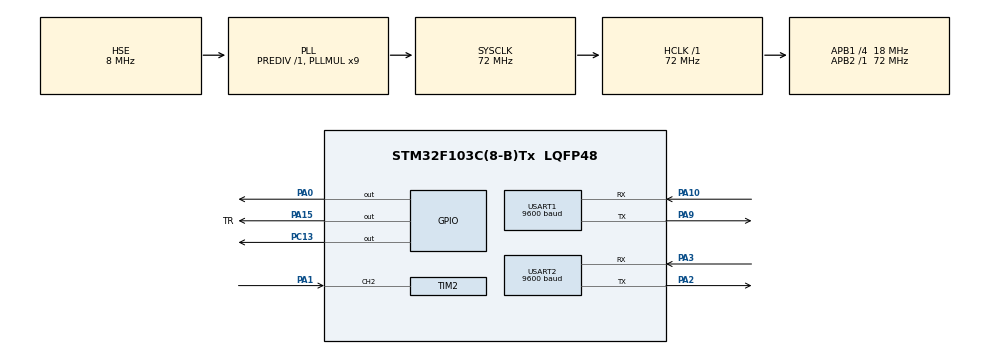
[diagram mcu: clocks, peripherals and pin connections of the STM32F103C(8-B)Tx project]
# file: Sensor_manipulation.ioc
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Mcu.Family=STM32F1
Mcu.Name=STM32F103C(8-B)Tx
Mcu.Package=LQFP48
NVIC.PriorityGroup=NVIC_PRIORITYGROUP_4
NVIC.TIM2_IRQn=true\:2\:0\:true\:false\:true\:true
NVIC.TIM3_IRQn=true\:3\:0\:true\:false\:true\:true
NVIC.USART1_IRQn=true\:1\:0\:true\:false\:true\:true
NVIC.USART2_IRQn=true\:0\:0\:false\:false\:true\:true
PA0-WKUP.Signal=GPIO_Output
PA1.GPIO_PuPd=GPIO_PULLUP
PA1.Signal=S_TIM2_CH2
PA10.Mode=Asynchronous
PA10.Signal=USART1_RX
PA13.Mode=Serial_Wire
PA13.Signal=SYS_JTMS-SWDIO
PA14.Mode=Serial_Wire
PA14.Signal=SYS_JTCK-SWCLK
PA15.GPIO_Label=TR
PA15.Signal=GPIO_Output
PA2.Mode=Asynchronous
PA2.Signal=USART2_TX
PA3.Mode=Asynchronous
PA3.Signal=USART2_RX
PA9.Mode=Asynchronous
PA9.Signal=USART1_TX
PC13-TAMPER-RTC.Signal=GPIO_Output
PD0-OSC_IN.Mode=HSE-External-Oscillator
PD0-OSC_IN.Signal=RCC_OSC_IN
PD1-OSC_OUT.Mode=HSE-External-Oscillator
PD1-OSC_OUT.Signal=RCC_OSC_OUT
ProjectManager.HeapSize=0x200
ProjectManager.StackSize=0x400
ProjectManager.TargetToolchain=MDK-ARM V5
RCC.AHBFreq_Value=72000000
RCC.APB1CLKDivider=RCC_HCLK_DIV4
RCC.APB1Freq_Value=18000000
RCC.APB1TimFreq_Value=36000000
RCC.APB2Freq_Value=72000000
RCC.APB2TimFreq_Value=72000000
RCC.HCLKFreq_Value=72000000
RCC.PLLMUL=RCC_PLL_MUL9
RCC.PLLSourceVirtual=RCC_PLLSOURCE_HSE
RCC.SYSCLKFreq_VALUE=72000000
RCC.SYSCLKSource=RCC_SYSCLKSOURCE_PLLCLK
RCC.USBFreq_Value=72000000
SH.S_TIM2_CH2.0=TIM2_CH2,Input_Capture2_from_TI2
TIM2.Channel-Input_Capture2_from_TI2=TIM_CHANNEL_2
TIM2.ICFilter_CH2=15
TIM2.ICPolarity_CH2=TIM_INPUTCHANNELPOLARITY_FALLING
TIM2.Period=65535-1
TIM2.Prescaler=36000-1
TIM3.Period=1000-1
TIM3.Prescaler=36-1
USART1.BaudRate=9600
USART1.Parity=PARITY_EVEN
USART1.VirtualMode=VM_ASYNC
USART1.WordLength=WORDLENGTH_9B
USART2.BaudRate=9600
USART2.Parity=PARITY_EVEN
USART2.VirtualMode=VM_ASYNC
USART2.WordLength=WORDLENGTH_9B
VP_TIM2_VS_ClockSourceINT.Mode=Internal
VP_TIM3_VS_ClockSourceINT.Mode=Internal
board=custom

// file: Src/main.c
/**
  ******************************************************************************
  * @file           : main.c
  * @brief          : Main program body
  ******************************************************************************
  ** This notice applies to any and all portions of this file
  * that are not between comment pairs USER CODE BEGIN and
  * USER CODE END. Other portions of this file, whether
  * inserted by the user or by software development tools
  * are owned by their respective copyright owners.
  *
  * COPYRIGHT(c) 2018 STMicroelectronics
  *
  * Redistribution and use in source and binary forms, with or without modification,
  * are permitted provided that the following conditions are met:
  *   1. Redistributions of source code must retain the above copyright notice,
  *      this list of conditions and the following disclaimer.
  *   2. Redistributions in binary form must reproduce the above copyright notice,
  *      this list of conditions and the following disclaimer in the documentation
  *      and/or other materials provided with the distribution.
  *   3. Neither the name of STMicroelectronics nor the names of its contributors
  *      may be used to endorse or promote products derived from this software
  *      without specific prior written permission.
  *
  * THIS SOFTWARE IS PROVIDED BY THE COPYRIGHT HOLDERS AND CONTRIBUTORS "AS IS"
  * AND ANY EXPRESS OR IMPLIED WARRANTIES, INCLUDING, BUT NOT LIMITED TO, THE
  * IMPLIED WARRANTIES OF MERCHANTABILITY AND FITNESS FOR A PARTICULAR PURPOSE ARE
  * DISCLAIMED. IN NO EVENT SHALL THE COPYRIGHT HOLDER OR CONTRIBUTORS BE LIABLE
  * FOR ANY DIRECT, INDIRECT, INCIDENTAL, SPECIAL, EXEMPLARY, OR CONSEQUENTIAL
  * DAMAGES (INCLUDING, BUT NOT LIMITED TO, PROCUREMENT OF SUBSTITUTE GOODS OR
  * SERVICES; LOSS OF USE, DATA, OR PROFITS; OR BUSINESS INTERRUPTION) HOWEVER
  * CAUSED AND ON ANY THEORY OF LIABILITY, WHETHER IN CONTRACT, STRICT LIABILITY,
  * OR TORT (INCLUDING NEGLIGENCE OR OTHERWISE) ARISING IN ANY WAY OUT OF THE USE
  * OF THIS SOFTWARE, EVEN IF ADVISED OF THE POSSIBILITY OF SUCH DAMAGE.
  *
  ******************************************************************************
  */
#include "main.h"
#include "stm32f1xx_hal.h"
#include "tim.h"
#include "usart.h"
#include "gpio.h"

/* USER CODE BEGIN Includes */
#include "stdbool.h"
#include "quarkBoostUSART.h"
/* USER CODE END Includes */

/* USER CODE BEGIN PV */
/* Private variables ---------------------------------------------------------*/

uint32_t speed_counter_in = 0;
uint32_t speed_counter_in_capture = 0;

extern uint32_t speed_counter_out;
extern uint32_t speed_counter_out_capture;

quarkBoostDef yamaha;

/* USER CODE END PV */

void SystemClock_Config(void);

/* USER CODE BEGIN PFP */
/* Private function prototypes -----------------------------------------------*/
void HAL_TIM_IC_CaptureCallback(TIM_HandleTypeDef *htim);
void HAL_UART_RxCpltCallback(UART_HandleTypeDef *huart);
/* USER CODE END PFP */

int main(void)
{

  /* MCU Configuration----------------------------------------------------------*/

  /* Reset of all peripherals, Initializes the Flash interface and the Systick. */
  HAL_Init();

  /* Configure the system clock */
  SystemClock_Config();

  /* Initialize all configured peripherals */
  MX_GPIO_Init();
  MX_TIM2_Init();
  MX_TIM3_Init();
  MX_USART2_UART_Init();
  MX_USART1_UART_Init();
  /* USER CODE BEGIN 2 */

	/* Enable interrupts*/
	HAL_TIM_Base_Start_IT(&htim3);
	HAL_TIM_IC_Start_IT(&htim2, TIM_CHANNEL_2);

	/* Init USART & turn on optocoupler */
	quarkBoostInit(&huart1, &huart2, &yamaha);

  /* USER CODE END 2 */

  /* Infinite loop */
  /* USER CODE BEGIN WHILE */
  while (1)
  {
		speed_counter_in = __HAL_TIM_GET_COUNTER(&htim2);
		if(speed_counter_in >= 3000 && speed_counter_in < 60000)
		{
			speed_counter_in_capture = 0;
			//HAL_GPIO_WritePin(GPIOC, GPIO_PIN_13, GPIO_PIN_SET);
		}
		else if(speed_counter_in >= 60000)
		{
			__HAL_TIM_SET_COUNTER(&htim2,3500);
		}
		else
		{
			//speed_counter_in_capture = __HAL_TIM_GET_COMPARE(&htim2,TIM_CHANNEL_2);

			//GPIO signal generation
			if(speed_counter_out >= speed_counter_in_capture * 2.0f)
			{
				speed_counter_out = 0;
				speed_counter_out_capture = 0;
			}
			else
			{
				if(speed_counter_out_capture <= 4)
				{
					// odkomentiraj nazaj za hitrost
					//HAL_GPIO_WritePin(GPIOC, GPIO_PIN_13, GPIO_PIN_RESET);
				}
				else
				{
					//HAL_GPIO_WritePin(GPIOC, GPIO_PIN_13, GPIO_PIN_SET);
				}
			}
		}

  /* USER CODE END WHILE */

  }

}

void SystemClock_Config(void)
{

  RCC_OscInitTypeDef RCC_OscInitStruct;
  RCC_ClkInitTypeDef RCC_ClkInitStruct;

    /**Initializes the CPU, AHB and APB busses clocks
    */
  RCC_OscInitStruct.OscillatorType = RCC_OSCILLATORTYPE_HSE;
  RCC_OscInitStruct.HSEState = RCC_HSE_ON;
  RCC_OscInitStruct.HSEPredivValue = RCC_HSE_PREDIV_DIV1;
  RCC_OscInitStruct.HSIState = RCC_HSI_ON;
  RCC_OscInitStruct.PLL.PLLState = RCC_PLL_ON;
  RCC_OscInitStruct.PLL.PLLSource = RCC_PLLSOURCE_HSE;
  RCC_OscInitStruct.PLL.PLLMUL = RCC_PLL_MUL9;
  if (HAL_RCC_OscConfig(&RCC_OscInitStruct) != HAL_OK)
  {
    _Error_Handler(__FILE__, __LINE__);
  }

    /**Initializes the CPU, AHB and APB busses clocks
    */
  RCC_ClkInitStruct.ClockType = RCC_CLOCKTYPE_HCLK|RCC_CLOCKTYPE_SYSCLK
                              |RCC_CLOCKTYPE_PCLK1|RCC_CLOCKTYPE_PCLK2;
  RCC_ClkInitStruct.SYSCLKSource = RCC_SYSCLKSOURCE_PLLCLK;
  RCC_ClkInitStruct.AHBCLKDivider = RCC_SYSCLK_DIV1;
  RCC_ClkInitStruct.APB1CLKDivider = RCC_HCLK_DIV4;
  RCC_ClkInitStruct.APB2CLKDivider = RCC_HCLK_DIV1;

  if (HAL_RCC_ClockConfig(&RCC_ClkInitStruct, FLASH_LATENCY_2) != HAL_OK)
  {
    _Error_Handler(__FILE__, __LINE__);
  }

    /**Configure the Systick interrupt time
    */
  HAL_SYSTICK_Config(HAL_RCC_GetHCLKFreq()/1000);

    /**Configure the Systick
    */
  HAL_SYSTICK_CLKSourceConfig(SYSTICK_CLKSOURCE_HCLK);

  /* SysTick_IRQn interrupt configuration */
  HAL_NVIC_SetPriority(SysTick_IRQn, 0, 0);
}

/* USER CODE BEGIN 4 */

void HAL_UART_RxCpltCallback(UART_HandleTypeDef *huart)
{
	quarkBoostMessage(huart, &yamaha);
}

void HAL_TIM_IC_CaptureCallback(TIM_HandleTypeDef *htim)
{
	if(htim->Instance == TIM2)
	{
		speed_counter_in_capture = __HAL_TIM_GET_COMPARE(&htim2,TIM_CHANNEL_2);
		__HAL_TIM_SET_COUNTER(&htim2,0); // reset counter after input capture
	}
}
/* USER CODE END 4 */

void _Error_Handler(char *file, int line)
{
  while(1)
  {
  }
}

/************************ (C) COPYRIGHT STMicroelectronics *****END OF FILE****/
